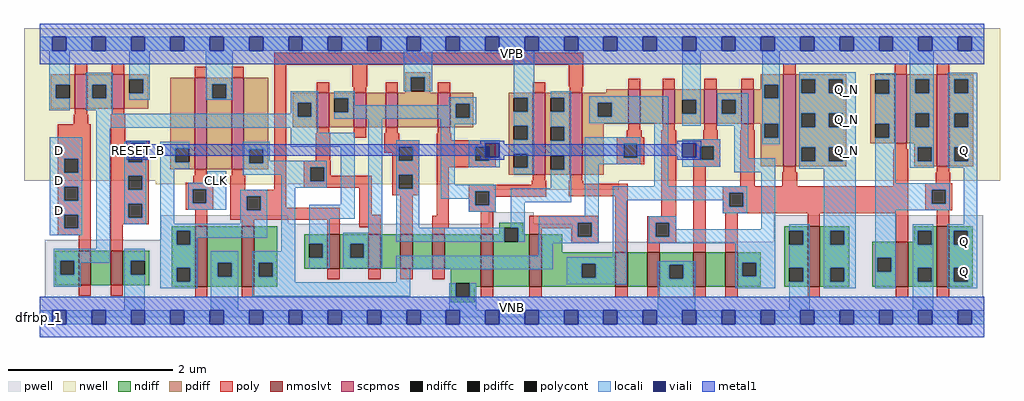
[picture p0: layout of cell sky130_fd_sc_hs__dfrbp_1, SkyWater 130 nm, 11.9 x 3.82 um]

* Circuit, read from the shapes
.subckt sky130_fd_sc_hs__dfrbp_1 CLK D RESET_B VGND VNB VPB VPWR Q Q_N
XM1 n1 D n2 VNB sky130_fd_pr__nfet_01v8_lvt w=0.42 l=0.15
XM2 VGND RESET_B n1 VNB sky130_fd_pr__nfet_01v8_lvt w=0.42 l=0.15
XM3 VGND CLK n3 VNB sky130_fd_pr__nfet_01v8_lvt w=0.74 l=0.15
XM4 n4 n3 VGND VNB sky130_fd_pr__nfet_01v8_lvt w=0.74 l=0.15
XM5 n5 n3 n2 VNB sky130_fd_pr__nfet_01v8_lvt w=0.42 l=0.15
XM6 n6 n4 n5 VNB sky130_fd_pr__nfet_01v8_lvt w=0.42 l=0.15
XM7 n7 n8 n6 VNB sky130_fd_pr__nfet_01v8_lvt w=0.42 l=0.15
XM8 VGND RESET_B n7 VNB sky130_fd_pr__nfet_01v8_lvt w=0.42 l=0.15
XM9 n8 n5 VGND VNB sky130_fd_pr__nfet_01v8_lvt w=0.64 l=0.15
XM10 n9 n4 n8 VNB sky130_fd_pr__nfet_01v8_lvt w=0.64 l=0.15
XM11 n10 n3 n9 VNB sky130_fd_pr__nfet_01v8_lvt w=0.42 l=0.15
XM12 VGND n11 n10 VNB sky130_fd_pr__nfet_01v8_lvt w=0.42 l=0.15
XM13 n12 RESET_B VGND VNB sky130_fd_pr__nfet_01v8_lvt w=0.42 l=0.15
XM14 n11 n9 n12 VNB sky130_fd_pr__nfet_01v8_lvt w=0.42 l=0.15
XM15 Q_N n9 VGND VNB sky130_fd_pr__nfet_01v8_lvt w=0.74 l=0.15
XM16 VGND n9 n13 VNB sky130_fd_pr__nfet_01v8_lvt w=0.55 l=0.15
XM17 Q n13 VGND VNB sky130_fd_pr__nfet_01v8_lvt w=0.74 l=0.15
XM18 n2 D VPWR VPB sky130_fd_pr__pfet_01v8 w=0.42 l=0.15
XM19 VPWR RESET_B n2 VPB sky130_fd_pr__pfet_01v8 w=0.42 l=0.15
XM20 VPWR CLK n3 VPB sky130_fd_pr__pfet_01v8 w=1.12 l=0.15
XM21 n4 n3 VPWR VPB sky130_fd_pr__pfet_01v8 w=1.12 l=0.15
XM22 n5 n4 n2 VPB sky130_fd_pr__pfet_01v8 w=0.42 l=0.15
XM23 n14 n3 n5 VPB sky130_fd_pr__pfet_01v8 w=0.42 l=0.15
XM24 VPWR n8 n14 VPB sky130_fd_pr__pfet_01v8 w=0.42 l=0.15
XM25 n5 RESET_B VPWR VPB sky130_fd_pr__pfet_01v8 w=0.42 l=0.15
XM26 n8 n5 VPWR VPB sky130_fd_pr__pfet_01v8 w=1 l=0.15
XM27 n9 n3 n8 VPB sky130_fd_pr__pfet_01v8 w=1 l=0.15
XM28 n15 n4 n9 VPB sky130_fd_pr__pfet_01v8 w=0.42 l=0.15
XM29 VPWR n11 n15 VPB sky130_fd_pr__pfet_01v8 w=0.42 l=0.15
XM30 n11 RESET_B VPWR VPB sky130_fd_pr__pfet_01v8 w=0.42 l=0.15
XM31 VPWR n9 n11 VPB sky130_fd_pr__pfet_01v8 w=0.42 l=0.15
XM32 Q_N n9 VPWR VPB sky130_fd_pr__pfet_01v8 w=1.12 l=0.15
XM33 VPWR n9 n13 VPB sky130_fd_pr__pfet_01v8 w=0.84 l=0.15
XM34 Q n13 VPWR VPB sky130_fd_pr__pfet_01v8 w=1.12 l=0.15
.ends

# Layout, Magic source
magic
tech sky130A
magscale 1 2
<< nwell >>
rect -38 332 2342 704
rect 283 324 1412 332
rect 1108 311 1412 324
<< pwell >>
rect 296 228 606 248
rect 1095 228 1205 256
rect 296 188 1300 228
rect 12 184 1300 188
rect 1790 184 2301 248
rect 12 49 2301 184
rect 0 0 2304 49
<< scpmos >>
rect 86 508 116 592
rect 176 508 206 592
rect 378 360 408 584
rect 468 360 498 584
rect 676 463 706 547
rect 766 463 796 547
rect 844 463 874 547
rect 971 463 1001 547
rect 1203 347 1233 547
rect 1293 347 1323 547
rect 1435 471 1465 555
rect 1519 471 1549 555
rect 1621 471 1651 555
rect 1711 471 1741 555
rect 1814 368 1844 592
rect 2085 424 2115 592
rect 2188 368 2218 592
<< nmoslvt >>
rect 95 78 125 162
rect 173 78 203 162
rect 379 74 409 222
rect 493 74 523 222
rect 702 118 732 202
rect 802 118 832 202
rect 880 118 910 202
rect 958 118 988 202
rect 1076 74 1106 202
rect 1194 74 1224 202
rect 1404 74 1434 158
rect 1482 74 1512 158
rect 1594 74 1624 158
rect 1672 74 1702 158
rect 1873 74 1903 222
rect 2088 74 2118 184
rect 2188 74 2218 222
<< ndiff >>
rect 322 210 379 222
rect 322 176 334 210
rect 368 176 379 210
rect 38 137 95 162
rect 38 103 50 137
rect 84 103 95 137
rect 38 78 95 103
rect 125 78 173 162
rect 203 137 268 162
rect 203 103 222 137
rect 256 103 268 137
rect 203 78 268 103
rect 322 120 379 176
rect 322 86 334 120
rect 368 86 379 120
rect 322 74 379 86
rect 409 132 493 222
rect 409 98 434 132
rect 468 98 493 132
rect 409 74 493 98
rect 523 132 580 222
rect 1121 218 1179 230
rect 1121 202 1133 218
rect 523 98 534 132
rect 568 98 580 132
rect 645 179 702 202
rect 645 145 657 179
rect 691 145 702 179
rect 645 118 702 145
rect 732 179 802 202
rect 732 145 757 179
rect 791 145 802 179
rect 732 118 802 145
rect 832 118 880 202
rect 910 118 958 202
rect 988 118 1076 202
rect 523 74 580 98
rect 1003 82 1076 118
rect 1003 48 1015 82
rect 1049 74 1076 82
rect 1106 184 1133 202
rect 1167 202 1179 218
rect 1167 184 1194 202
rect 1106 74 1194 184
rect 1224 158 1274 202
rect 1816 210 1873 222
rect 1816 176 1828 210
rect 1862 176 1873 210
rect 1224 130 1404 158
rect 1224 96 1322 130
rect 1356 96 1404 130
rect 1224 74 1404 96
rect 1434 74 1482 158
rect 1512 128 1594 158
rect 1512 94 1536 128
rect 1570 94 1594 128
rect 1512 74 1594 94
rect 1624 74 1672 158
rect 1702 133 1759 158
rect 1702 99 1713 133
rect 1747 99 1759 133
rect 1702 74 1759 99
rect 1816 120 1873 176
rect 1816 86 1828 120
rect 1862 86 1873 120
rect 1816 74 1873 86
rect 1903 210 1974 222
rect 1903 176 1928 210
rect 1962 176 1974 210
rect 2133 210 2188 222
rect 2133 184 2141 210
rect 1903 120 1974 176
rect 1903 86 1928 120
rect 1962 86 1974 120
rect 1903 74 1974 86
rect 2031 145 2088 184
rect 2031 111 2043 145
rect 2077 111 2088 145
rect 2031 74 2088 111
rect 2118 176 2141 184
rect 2175 176 2188 210
rect 2118 120 2188 176
rect 2118 86 2141 120
rect 2175 86 2188 120
rect 2118 74 2188 86
rect 2218 210 2275 222
rect 2218 176 2229 210
rect 2263 176 2275 210
rect 2218 120 2275 176
rect 2218 86 2229 120
rect 2263 86 2275 120
rect 2218 74 2275 86
rect 1049 48 1061 74
rect 1003 36 1061 48
<< pdiff >>
rect 27 567 86 592
rect 27 533 39 567
rect 73 533 86 567
rect 27 508 86 533
rect 116 567 176 592
rect 116 533 129 567
rect 163 533 176 567
rect 116 508 176 533
rect 206 580 265 592
rect 206 546 219 580
rect 253 546 265 580
rect 206 508 265 546
rect 319 412 378 584
rect 319 378 331 412
rect 365 378 378 412
rect 319 360 378 378
rect 408 568 468 584
rect 408 534 421 568
rect 455 534 468 568
rect 408 360 468 534
rect 498 409 557 584
rect 498 375 511 409
rect 545 375 557 409
rect 498 360 557 375
rect 892 585 953 597
rect 892 551 905 585
rect 939 551 953 585
rect 892 547 953 551
rect 1759 567 1814 592
rect 1759 555 1767 567
rect 1382 547 1435 555
rect 617 522 676 547
rect 617 488 629 522
rect 663 488 676 522
rect 617 463 676 488
rect 706 534 766 547
rect 706 500 719 534
rect 753 500 766 534
rect 706 463 766 500
rect 796 463 844 547
rect 874 463 971 547
rect 1001 520 1057 547
rect 1001 486 1015 520
rect 1049 486 1057 520
rect 1001 463 1057 486
rect 1144 535 1203 547
rect 1144 501 1156 535
rect 1190 501 1203 535
rect 1144 466 1203 501
rect 1144 432 1156 466
rect 1190 432 1203 466
rect 1144 398 1203 432
rect 1144 364 1156 398
rect 1190 364 1203 398
rect 1144 347 1203 364
rect 1233 535 1293 547
rect 1233 501 1246 535
rect 1280 501 1293 535
rect 1233 464 1293 501
rect 1233 430 1246 464
rect 1280 430 1293 464
rect 1233 393 1293 430
rect 1233 359 1246 393
rect 1280 359 1293 393
rect 1233 347 1293 359
rect 1323 523 1435 547
rect 1323 489 1361 523
rect 1395 489 1435 523
rect 1323 471 1435 489
rect 1465 471 1519 555
rect 1549 530 1621 555
rect 1549 496 1567 530
rect 1601 496 1621 530
rect 1549 471 1621 496
rect 1651 530 1711 555
rect 1651 496 1664 530
rect 1698 496 1711 530
rect 1651 471 1711 496
rect 1741 533 1767 555
rect 1801 533 1814 567
rect 1741 471 1814 533
rect 1323 347 1376 471
rect 1759 437 1767 471
rect 1801 437 1814 471
rect 1759 368 1814 437
rect 1844 580 1967 592
rect 1844 546 1857 580
rect 1891 546 1925 580
rect 1959 546 1967 580
rect 1844 497 1967 546
rect 1844 463 1857 497
rect 1891 463 1925 497
rect 1959 463 1967 497
rect 1844 414 1967 463
rect 2026 579 2085 592
rect 2026 545 2038 579
rect 2072 545 2085 579
rect 2026 471 2085 545
rect 2026 437 2038 471
rect 2072 437 2085 471
rect 2026 424 2085 437
rect 2115 580 2188 592
rect 2115 546 2135 580
rect 2169 546 2188 580
rect 2115 497 2188 546
rect 2115 463 2135 497
rect 2169 463 2188 497
rect 2115 424 2188 463
rect 1844 380 1857 414
rect 1891 380 1925 414
rect 1959 380 1967 414
rect 2133 414 2188 424
rect 1844 368 1967 380
rect 2133 380 2141 414
rect 2175 380 2188 414
rect 2133 368 2188 380
rect 2218 580 2277 592
rect 2218 546 2231 580
rect 2265 546 2277 580
rect 2218 497 2277 546
rect 2218 463 2231 497
rect 2265 463 2277 497
rect 2218 414 2277 463
rect 2218 380 2231 414
rect 2265 380 2277 414
rect 2218 368 2277 380
<< ndiffc >>
rect 334 176 368 210
rect 50 103 84 137
rect 222 103 256 137
rect 334 86 368 120
rect 434 98 468 132
rect 534 98 568 132
rect 657 145 691 179
rect 757 145 791 179
rect 1015 48 1049 82
rect 1133 184 1167 218
rect 1828 176 1862 210
rect 1322 96 1356 130
rect 1536 94 1570 128
rect 1713 99 1747 133
rect 1828 86 1862 120
rect 1928 176 1962 210
rect 1928 86 1962 120
rect 2043 111 2077 145
rect 2141 176 2175 210
rect 2141 86 2175 120
rect 2229 176 2263 210
rect 2229 86 2263 120
<< pdiffc >>
rect 39 533 73 567
rect 129 533 163 567
rect 219 546 253 580
rect 331 378 365 412
rect 421 534 455 568
rect 511 375 545 409
rect 905 551 939 585
rect 629 488 663 522
rect 719 500 753 534
rect 1015 486 1049 520
rect 1156 501 1190 535
rect 1156 432 1190 466
rect 1156 364 1190 398
rect 1246 501 1280 535
rect 1246 430 1280 464
rect 1246 359 1280 393
rect 1361 489 1395 523
rect 1567 496 1601 530
rect 1664 496 1698 530
rect 1767 533 1801 567
rect 1767 437 1801 471
rect 1857 546 1891 580
rect 1925 546 1959 580
rect 1857 463 1891 497
rect 1925 463 1959 497
rect 2038 545 2072 579
rect 2038 437 2072 471
rect 2135 546 2169 580
rect 2135 463 2169 497
rect 1857 380 1891 414
rect 1925 380 1959 414
rect 2141 380 2175 414
rect 2231 546 2265 580
rect 2231 463 2265 497
rect 2231 380 2265 414
<< poly >>
rect 86 592 116 618
rect 176 592 206 618
rect 572 615 1326 645
rect 378 584 408 610
rect 468 584 498 610
rect 86 493 116 508
rect 176 493 206 508
rect 83 470 119 493
rect 44 386 125 470
rect 44 352 60 386
rect 94 352 125 386
rect 44 318 125 352
rect 44 284 60 318
rect 94 284 125 318
rect 44 250 125 284
rect 44 216 60 250
rect 94 216 125 250
rect 44 200 125 216
rect 95 162 125 200
rect 173 428 209 493
rect 173 412 266 428
rect 173 378 216 412
rect 250 378 266 412
rect 173 344 266 378
rect 378 345 408 360
rect 468 345 498 360
rect 173 310 216 344
rect 250 310 266 344
rect 375 328 411 345
rect 173 276 266 310
rect 173 242 216 276
rect 250 242 266 276
rect 357 312 423 328
rect 357 278 373 312
rect 407 278 423 312
rect 357 262 423 278
rect 465 310 501 345
rect 572 310 602 615
rect 676 547 706 573
rect 763 562 799 615
rect 766 547 796 562
rect 844 547 874 573
rect 971 547 1001 573
rect 1203 547 1233 573
rect 1290 562 1326 615
rect 1814 592 1844 618
rect 2085 592 2115 618
rect 2188 592 2218 618
rect 1293 547 1323 562
rect 1435 555 1465 581
rect 1519 555 1549 581
rect 1621 555 1651 581
rect 1711 555 1741 581
rect 676 448 706 463
rect 673 381 709 448
rect 766 437 796 463
rect 844 448 874 463
rect 971 448 1001 463
rect 841 431 877 448
rect 968 431 1004 448
rect 841 415 926 431
rect 841 401 876 415
rect 860 381 876 401
rect 910 381 926 415
rect 644 365 710 381
rect 644 331 660 365
rect 694 345 710 365
rect 860 347 926 381
rect 694 331 810 345
rect 644 315 810 331
rect 465 294 602 310
rect 173 226 266 242
rect 173 162 203 226
rect 379 222 409 262
rect 465 260 505 294
rect 539 267 602 294
rect 539 260 732 267
rect 465 237 732 260
rect 493 222 523 237
rect 95 52 125 78
rect 173 52 203 78
rect 702 202 732 237
rect 780 249 810 315
rect 860 313 876 347
rect 910 313 926 347
rect 860 297 926 313
rect 968 415 1112 431
rect 968 381 1062 415
rect 1096 381 1112 415
rect 968 365 1112 381
rect 780 219 832 249
rect 802 202 832 219
rect 880 202 910 297
rect 968 247 998 365
rect 1435 456 1465 471
rect 1519 456 1549 471
rect 1621 456 1651 471
rect 1711 456 1741 471
rect 1432 439 1468 456
rect 1408 423 1474 439
rect 1408 389 1424 423
rect 1458 389 1474 423
rect 1408 373 1474 389
rect 1203 332 1233 347
rect 1293 332 1323 347
rect 1200 323 1236 332
rect 1046 307 1236 323
rect 1046 273 1062 307
rect 1096 293 1236 307
rect 1290 325 1326 332
rect 1290 295 1434 325
rect 1096 273 1112 293
rect 1046 257 1112 273
rect 958 217 998 247
rect 958 202 988 217
rect 1076 202 1106 257
rect 1194 230 1362 247
rect 702 92 732 118
rect 802 92 832 118
rect 880 92 910 118
rect 958 92 988 118
rect 379 48 409 74
rect 493 48 523 74
rect 1194 217 1312 230
rect 1194 202 1224 217
rect 1296 196 1312 217
rect 1346 196 1362 230
rect 1296 180 1362 196
rect 1404 158 1434 295
rect 1516 246 1552 456
rect 1618 433 1654 456
rect 1482 230 1552 246
rect 1482 196 1502 230
rect 1536 196 1552 230
rect 1482 180 1552 196
rect 1594 417 1660 433
rect 1594 383 1610 417
rect 1644 383 1660 417
rect 1594 367 1660 383
rect 1482 158 1512 180
rect 1594 158 1624 367
rect 1708 319 1744 456
rect 2085 409 2115 424
rect 1814 353 1844 368
rect 1811 319 1847 353
rect 2082 319 2118 409
rect 2188 353 2218 368
rect 2185 326 2221 353
rect 1666 303 2118 319
rect 1666 269 1682 303
rect 1716 269 2118 303
rect 1666 253 2118 269
rect 2160 310 2226 326
rect 2160 276 2176 310
rect 2210 276 2226 310
rect 2160 260 2226 276
rect 1672 158 1702 253
rect 1873 222 1903 253
rect 2088 184 2118 253
rect 2188 222 2218 260
rect 1076 48 1106 74
rect 1194 48 1224 74
rect 1404 48 1434 74
rect 1482 48 1512 74
rect 1594 48 1624 74
rect 1672 48 1702 74
rect 1873 48 1903 74
rect 2088 48 2118 74
rect 2188 48 2218 74
<< polycont >>
rect 60 352 94 386
rect 60 284 94 318
rect 60 216 94 250
rect 216 378 250 412
rect 216 310 250 344
rect 216 242 250 276
rect 373 278 407 312
rect 876 381 910 415
rect 660 331 694 365
rect 505 260 539 294
rect 876 313 910 347
rect 1062 381 1096 415
rect 1424 389 1458 423
rect 1062 273 1096 307
rect 1312 196 1346 230
rect 1502 196 1536 230
rect 1610 383 1644 417
rect 1682 269 1716 303
rect 2176 276 2210 310
<< locali >>
rect 0 649 31 683
rect 65 649 127 683
rect 161 649 223 683
rect 257 649 319 683
rect 353 649 415 683
rect 449 649 511 683
rect 545 649 607 683
rect 641 649 703 683
rect 737 649 799 683
rect 833 649 895 683
rect 929 649 991 683
rect 1025 649 1087 683
rect 1121 649 1183 683
rect 1217 649 1279 683
rect 1313 649 1375 683
rect 1409 649 1471 683
rect 1505 649 1567 683
rect 1601 649 1663 683
rect 1697 649 1759 683
rect 1793 649 1855 683
rect 1889 649 1951 683
rect 1985 649 2047 683
rect 2081 649 2143 683
rect 2177 649 2239 683
rect 2273 649 2304 683
rect 23 567 73 649
rect 23 533 39 567
rect 23 504 73 533
rect 113 567 179 596
rect 113 533 129 567
rect 163 533 179 567
rect 113 504 179 533
rect 219 580 269 649
rect 253 546 269 580
rect 219 530 269 546
rect 405 568 471 649
rect 405 534 421 568
rect 455 534 471 568
rect 888 585 957 649
rect 888 551 905 585
rect 939 551 957 585
rect 405 530 471 534
rect 138 496 179 504
rect 613 522 679 551
rect 613 496 629 522
rect 138 488 629 496
rect 663 488 679 522
rect 138 462 679 488
rect 719 534 769 551
rect 753 517 769 534
rect 998 520 1065 536
rect 998 517 1015 520
rect 753 500 1015 517
rect 719 486 1015 500
rect 1049 486 1065 520
rect 719 483 1065 486
rect 25 386 104 439
rect 25 352 60 386
rect 94 352 104 386
rect 25 318 104 352
rect 25 284 60 318
rect 94 284 104 318
rect 25 250 104 284
rect 25 216 60 250
rect 94 216 104 250
rect 25 200 104 216
rect 138 166 172 462
rect 613 449 679 462
rect 206 424 260 428
rect 206 412 223 424
rect 206 378 216 412
rect 257 390 260 424
rect 250 378 260 390
rect 206 344 260 378
rect 206 310 216 344
rect 250 310 260 344
rect 206 276 260 310
rect 206 242 216 276
rect 250 242 260 276
rect 206 226 260 242
rect 294 412 365 428
rect 294 378 331 412
rect 294 362 365 378
rect 495 409 561 428
rect 613 415 768 449
rect 495 375 511 409
rect 545 381 561 409
rect 545 375 700 381
rect 495 365 700 375
rect 294 228 328 362
rect 409 328 455 356
rect 495 347 660 365
rect 362 312 455 328
rect 362 278 373 312
rect 407 278 455 312
rect 589 331 660 347
rect 694 331 700 365
rect 589 315 700 331
rect 362 262 455 278
rect 489 294 555 310
rect 489 260 505 294
rect 539 260 555 294
rect 489 228 555 260
rect 294 210 555 228
rect 294 176 334 210
rect 368 194 555 210
rect 368 176 384 194
rect 34 137 172 166
rect 34 103 50 137
rect 84 132 172 137
rect 206 137 256 166
rect 84 103 100 132
rect 34 74 100 103
rect 206 103 222 137
rect 206 17 256 103
rect 294 120 384 176
rect 589 160 623 315
rect 734 274 768 415
rect 294 86 334 120
rect 368 86 384 120
rect 294 70 384 86
rect 418 132 484 160
rect 418 98 434 132
rect 468 98 484 132
rect 418 17 484 98
rect 518 132 623 160
rect 518 98 534 132
rect 568 98 623 132
rect 657 240 768 274
rect 657 179 707 240
rect 802 206 836 483
rect 978 470 1065 483
rect 1156 535 1206 649
rect 1190 501 1206 535
rect 691 145 707 179
rect 657 119 707 145
rect 741 179 836 206
rect 870 415 926 431
rect 870 381 876 415
rect 910 381 926 415
rect 870 347 926 381
rect 870 313 876 347
rect 910 313 926 347
rect 870 218 926 313
rect 978 323 1012 470
rect 1156 466 1206 501
rect 1190 432 1206 466
rect 1046 424 1122 431
rect 1046 415 1087 424
rect 1046 381 1062 415
rect 1121 390 1122 424
rect 1096 381 1122 390
rect 1046 365 1122 381
rect 1156 398 1206 432
rect 1190 364 1206 398
rect 1156 348 1206 364
rect 1246 535 1296 551
rect 1280 501 1296 535
rect 1246 464 1296 501
rect 1340 523 1533 539
rect 1340 489 1361 523
rect 1395 489 1533 523
rect 1340 473 1533 489
rect 1280 430 1296 464
rect 1246 393 1296 430
rect 1280 359 1296 393
rect 978 307 1112 323
rect 1246 314 1296 359
rect 978 289 1062 307
rect 1046 273 1062 289
rect 1096 273 1112 307
rect 1046 257 1112 273
rect 1149 280 1296 314
rect 1330 423 1465 439
rect 1330 389 1424 423
rect 1458 389 1465 423
rect 1330 373 1465 389
rect 1149 218 1183 280
rect 1330 246 1364 373
rect 1499 319 1533 473
rect 1567 530 1612 649
rect 1762 567 1805 649
rect 1601 496 1612 530
rect 1567 467 1612 496
rect 1652 530 1728 546
rect 1652 496 1664 530
rect 1698 496 1728 530
rect 1652 467 1728 496
rect 1567 424 1660 433
rect 1601 417 1660 424
rect 1601 390 1610 417
rect 1567 383 1610 390
rect 1644 383 1660 417
rect 1567 367 1660 383
rect 1694 387 1728 467
rect 1762 533 1767 567
rect 1801 533 1805 567
rect 1762 471 1805 533
rect 1762 437 1767 471
rect 1801 437 1805 471
rect 1762 421 1805 437
rect 1852 580 1990 597
rect 1852 546 1857 580
rect 1891 546 1925 580
rect 1959 546 1990 580
rect 1852 497 1990 546
rect 1852 463 1857 497
rect 1891 463 1925 497
rect 1959 463 1990 497
rect 1852 414 1990 463
rect 1694 353 1794 387
rect 1852 380 1857 414
rect 1891 380 1925 414
rect 1959 380 1990 414
rect 1852 362 1990 380
rect 870 184 1133 218
rect 1167 184 1183 218
rect 1217 230 1364 246
rect 1217 196 1312 230
rect 1346 196 1364 230
rect 741 145 757 179
rect 791 145 836 179
rect 1217 180 1364 196
rect 1398 303 1726 319
rect 1398 285 1682 303
rect 1217 150 1251 180
rect 741 119 836 145
rect 518 85 623 98
rect 870 116 1251 150
rect 1398 146 1432 285
rect 1666 269 1682 285
rect 1716 269 1726 303
rect 1666 253 1726 269
rect 1486 230 1552 246
rect 1486 196 1502 230
rect 1536 214 1552 230
rect 1760 214 1794 353
rect 1536 196 1794 214
rect 1486 180 1794 196
rect 1285 130 1432 146
rect 870 85 904 116
rect 518 51 904 85
rect 1285 96 1322 130
rect 1356 96 1432 130
rect 999 48 1015 82
rect 1049 48 1065 82
rect 1285 80 1432 96
rect 1507 128 1599 136
rect 1507 94 1536 128
rect 1570 94 1599 128
rect 999 17 1065 48
rect 1507 17 1599 94
rect 1697 133 1794 180
rect 1697 99 1713 133
rect 1747 99 1794 133
rect 1697 70 1794 99
rect 1828 210 1878 226
rect 1862 176 1878 210
rect 1828 120 1878 176
rect 1862 86 1878 120
rect 1828 17 1878 86
rect 1912 210 1990 362
rect 1912 176 1928 210
rect 1962 176 1990 210
rect 1912 120 1990 176
rect 1912 86 1928 120
rect 1962 86 1990 120
rect 1912 70 1990 86
rect 2038 579 2088 595
rect 2072 545 2088 579
rect 2038 471 2088 545
rect 2072 437 2088 471
rect 2038 326 2088 437
rect 2122 580 2181 649
rect 2122 546 2135 580
rect 2169 546 2181 580
rect 2122 497 2181 546
rect 2122 463 2135 497
rect 2169 463 2181 497
rect 2122 414 2181 463
rect 2122 380 2141 414
rect 2175 380 2181 414
rect 2122 364 2181 380
rect 2215 580 2287 596
rect 2215 546 2231 580
rect 2265 546 2287 580
rect 2215 497 2287 546
rect 2215 463 2231 497
rect 2265 463 2287 497
rect 2215 414 2287 463
rect 2215 380 2231 414
rect 2265 380 2287 414
rect 2215 364 2287 380
rect 2038 310 2219 326
rect 2038 276 2176 310
rect 2210 276 2219 310
rect 2038 260 2219 276
rect 2038 145 2088 260
rect 2253 226 2287 364
rect 2038 111 2043 145
rect 2077 111 2088 145
rect 2038 70 2088 111
rect 2129 210 2179 226
rect 2129 176 2141 210
rect 2175 176 2179 210
rect 2129 120 2179 176
rect 2129 86 2141 120
rect 2175 86 2179 120
rect 2129 17 2179 86
rect 2213 210 2287 226
rect 2213 176 2229 210
rect 2263 176 2287 210
rect 2213 120 2287 176
rect 2213 86 2229 120
rect 2263 86 2287 120
rect 2213 70 2287 86
rect 0 -17 31 17
rect 65 -17 127 17
rect 161 -17 223 17
rect 257 -17 319 17
rect 353 -17 415 17
rect 449 -17 511 17
rect 545 -17 607 17
rect 641 -17 703 17
rect 737 -17 799 17
rect 833 -17 895 17
rect 929 -17 991 17
rect 1025 -17 1087 17
rect 1121 -17 1183 17
rect 1217 -17 1279 17
rect 1313 -17 1375 17
rect 1409 -17 1471 17
rect 1505 -17 1567 17
rect 1601 -17 1663 17
rect 1697 -17 1759 17
rect 1793 -17 1855 17
rect 1889 -17 1951 17
rect 1985 -17 2047 17
rect 2081 -17 2143 17
rect 2177 -17 2239 17
rect 2273 -17 2304 17
<< viali >>
rect 31 649 65 683
rect 127 649 161 683
rect 223 649 257 683
rect 319 649 353 683
rect 415 649 449 683
rect 511 649 545 683
rect 607 649 641 683
rect 703 649 737 683
rect 799 649 833 683
rect 895 649 929 683
rect 991 649 1025 683
rect 1087 649 1121 683
rect 1183 649 1217 683
rect 1279 649 1313 683
rect 1375 649 1409 683
rect 1471 649 1505 683
rect 1567 649 1601 683
rect 1663 649 1697 683
rect 1759 649 1793 683
rect 1855 649 1889 683
rect 1951 649 1985 683
rect 2047 649 2081 683
rect 2143 649 2177 683
rect 2239 649 2273 683
rect 223 412 257 424
rect 223 390 250 412
rect 250 390 257 412
rect 1087 415 1121 424
rect 1087 390 1096 415
rect 1096 390 1121 415
rect 1567 390 1601 424
rect 31 -17 65 17
rect 127 -17 161 17
rect 223 -17 257 17
rect 319 -17 353 17
rect 415 -17 449 17
rect 511 -17 545 17
rect 607 -17 641 17
rect 703 -17 737 17
rect 799 -17 833 17
rect 895 -17 929 17
rect 991 -17 1025 17
rect 1087 -17 1121 17
rect 1183 -17 1217 17
rect 1279 -17 1313 17
rect 1375 -17 1409 17
rect 1471 -17 1505 17
rect 1567 -17 1601 17
rect 1663 -17 1697 17
rect 1759 -17 1793 17
rect 1855 -17 1889 17
rect 1951 -17 1985 17
rect 2047 -17 2081 17
rect 2143 -17 2177 17
rect 2239 -17 2273 17
<< metal1 >>
rect 0 683 2304 715
rect 0 649 31 683
rect 65 649 127 683
rect 161 649 223 683
rect 257 649 319 683
rect 353 649 415 683
rect 449 649 511 683
rect 545 649 607 683
rect 641 649 703 683
rect 737 649 799 683
rect 833 649 895 683
rect 929 649 991 683
rect 1025 649 1087 683
rect 1121 649 1183 683
rect 1217 649 1279 683
rect 1313 649 1375 683
rect 1409 649 1471 683
rect 1505 649 1567 683
rect 1601 649 1663 683
rect 1697 649 1759 683
rect 1793 649 1855 683
rect 1889 649 1951 683
rect 1985 649 2047 683
rect 2081 649 2143 683
rect 2177 649 2239 683
rect 2273 649 2304 683
rect 0 617 2304 649
rect 211 424 269 430
rect 211 390 223 424
rect 257 421 269 424
rect 1075 424 1133 430
rect 1075 421 1087 424
rect 257 393 1087 421
rect 257 390 269 393
rect 211 384 269 390
rect 1075 390 1087 393
rect 1121 421 1133 424
rect 1555 424 1613 430
rect 1555 421 1567 424
rect 1121 393 1567 421
rect 1121 390 1133 393
rect 1075 384 1133 390
rect 1555 390 1567 393
rect 1601 390 1613 424
rect 1555 384 1613 390
rect 0 17 2304 49
rect 0 -17 31 17
rect 65 -17 127 17
rect 161 -17 223 17
rect 257 -17 319 17
rect 353 -17 415 17
rect 449 -17 511 17
rect 545 -17 607 17
rect 641 -17 703 17
rect 737 -17 799 17
rect 833 -17 895 17
rect 929 -17 991 17
rect 1025 -17 1087 17
rect 1121 -17 1183 17
rect 1217 -17 1279 17
rect 1313 -17 1375 17
rect 1409 -17 1471 17
rect 1505 -17 1567 17
rect 1601 -17 1663 17
rect 1697 -17 1759 17
rect 1793 -17 1855 17
rect 1889 -17 1951 17
rect 1985 -17 2047 17
rect 2081 -17 2143 17
rect 2177 -17 2239 17
rect 2273 -17 2304 17
rect 0 -49 2304 -17
<< labels >>
rlabel comment s 0 0 0 0 4 dfrbp_1
flabel pwell s 0 0 2304 49 0 FreeSans 200 0 0 0 VNB
port 5 nsew ground bidirectional
flabel nwell s 0 617 2304 666 0 FreeSans 200 0 0 0 VPB
port 6 nsew power bidirectional
flabel metal1 s 223 390 257 424 0 FreeSans 340 0 0 0 RESET_B
port 3 nsew signal input
flabel metal1 s 0 617 2304 666 0 FreeSans 340 0 0 0 VPWR
port 7 nsew power bidirectional
flabel metal1 s 0 0 2304 49 0 FreeSans 340 0 0 0 VGND
port 4 nsew ground bidirectional
flabel locali s 2239 94 2273 128 0 FreeSans 340 0 0 0 Q
port 8 nsew signal output
flabel locali s 2239 168 2273 202 0 FreeSans 340 0 0 0 Q
port 8 nsew signal output
flabel locali s 2239 390 2273 424 0 FreeSans 340 0 0 0 Q
port 8 nsew signal output
flabel locali s 415 316 449 350 0 FreeSans 340 0 0 0 CLK
port 1 nsew clock input
flabel locali s 31 242 65 276 0 FreeSans 340 0 0 0 D
port 2 nsew signal input
flabel locali s 31 316 65 350 0 FreeSans 340 0 0 0 D
port 2 nsew signal input
flabel locali s 31 390 65 424 0 FreeSans 340 0 0 0 D
port 2 nsew signal input
flabel locali s 1951 390 1985 424 0 FreeSans 340 0 0 0 Q_N
port 9 nsew signal output
flabel locali s 1951 464 1985 498 0 FreeSans 340 0 0 0 Q_N
port 9 nsew signal output
flabel locali s 1951 538 1985 572 0 FreeSans 340 0 0 0 Q_N
port 9 nsew signal output
<< properties >>
string LEFsite unit
string LEFclass CORE
string FIXED_BBOX 0 0 2304 666
string GDS_FILE $PDKPATH/libs.ref/sky130_fd_sc_hs/gds/sky130_fd_sc_hs.gds
string LEFsymmetry X Y R90
string GDS_END 2636040
string GDS_START 2618546
<< end >>
